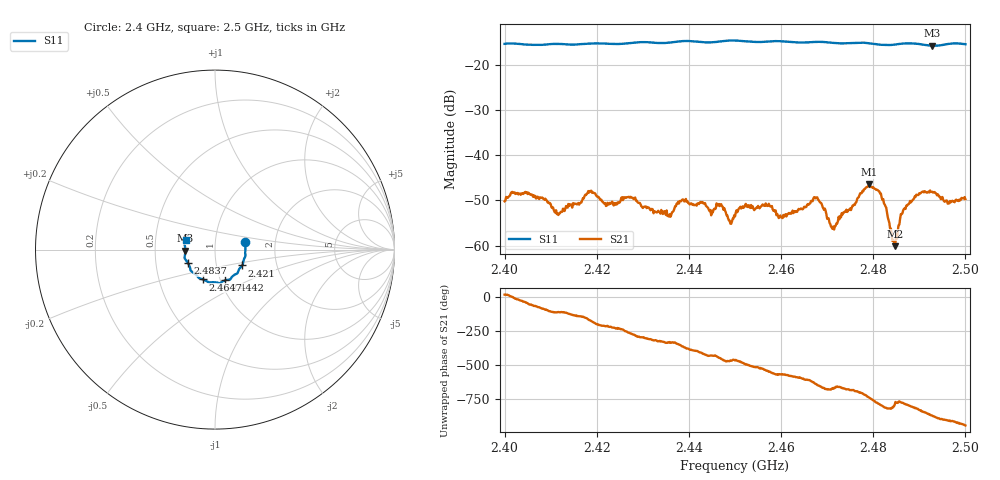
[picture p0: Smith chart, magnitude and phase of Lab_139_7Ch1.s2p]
# Hz S RI R 50
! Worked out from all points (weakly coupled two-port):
!   601 points, 2.4 GHz to 2.5 GHz, reference 50 ohm
!   highest |S21| = -46.45 dB at 2.4792 GHz (marker M1); lowest = -60.1 dB at 2.4847 GHz (marker M2)
!   lowest |S11| = -15.6 dB at 2.4928 GHz (marker M3), VSWR 1.40, Z = 35.8 - j0.406 ohm
!   |S11| at or under -10 dB: start of sweep to end of sweep
!   S12 and S22 are empty: the file has one direction only
!   S11 on the Smith chart (normalised r, x): 2.4 GHz: 1.40, +0.12; 2.421 GHz: 1.33, -0.24; 2.4442 GHz: 1.05, -0.37; 2.4647 GHz: 0.83, -0.28; 2.4837 GHz: 0.73, -0.11; 2.5 GHz: 0.72, +0.08
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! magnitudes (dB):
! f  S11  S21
! 2.4 GHz  -15.2  -50.2
! 2.405 GHz  -15.4  -48.6
! 2.4118 GHz  -15.2  -52.8
! 2.4167 GHz  -15.3  -50.4
! 2.4187 GHz  -15.1  -47.9
! 2.421 GHz  -15.1  -49.8
! 2.4333 GHz  -15.0  -52.3
! 2.4388 GHz  -14.6  -49.8
! 2.4442 GHz  -14.9  -51.7
! 2.45 GHz  -14.5  -53.5
! 2.4647 GHz  -14.9  -52.0
! 2.4667 GHz  -14.8  -50.1
! 2.4682 GHz  -14.8  -50.0
! 2.4713 GHz  -15.0  -55.8
! 2.4792 GHz  -15.1  -46.4
! 2.4813 GHz  -15.4  -48.0
! 2.4833 GHz  -15.5  -54.4
! 2.4837 GHz  -15.5  -56.3
! 2.4847 GHz  -15.4  -60.1
! 2.487 GHz  -15.1  -51.9
! 2.4928 GHz  -15.6  -48.1
! 2.5 GHz  -15.3  -49.7
